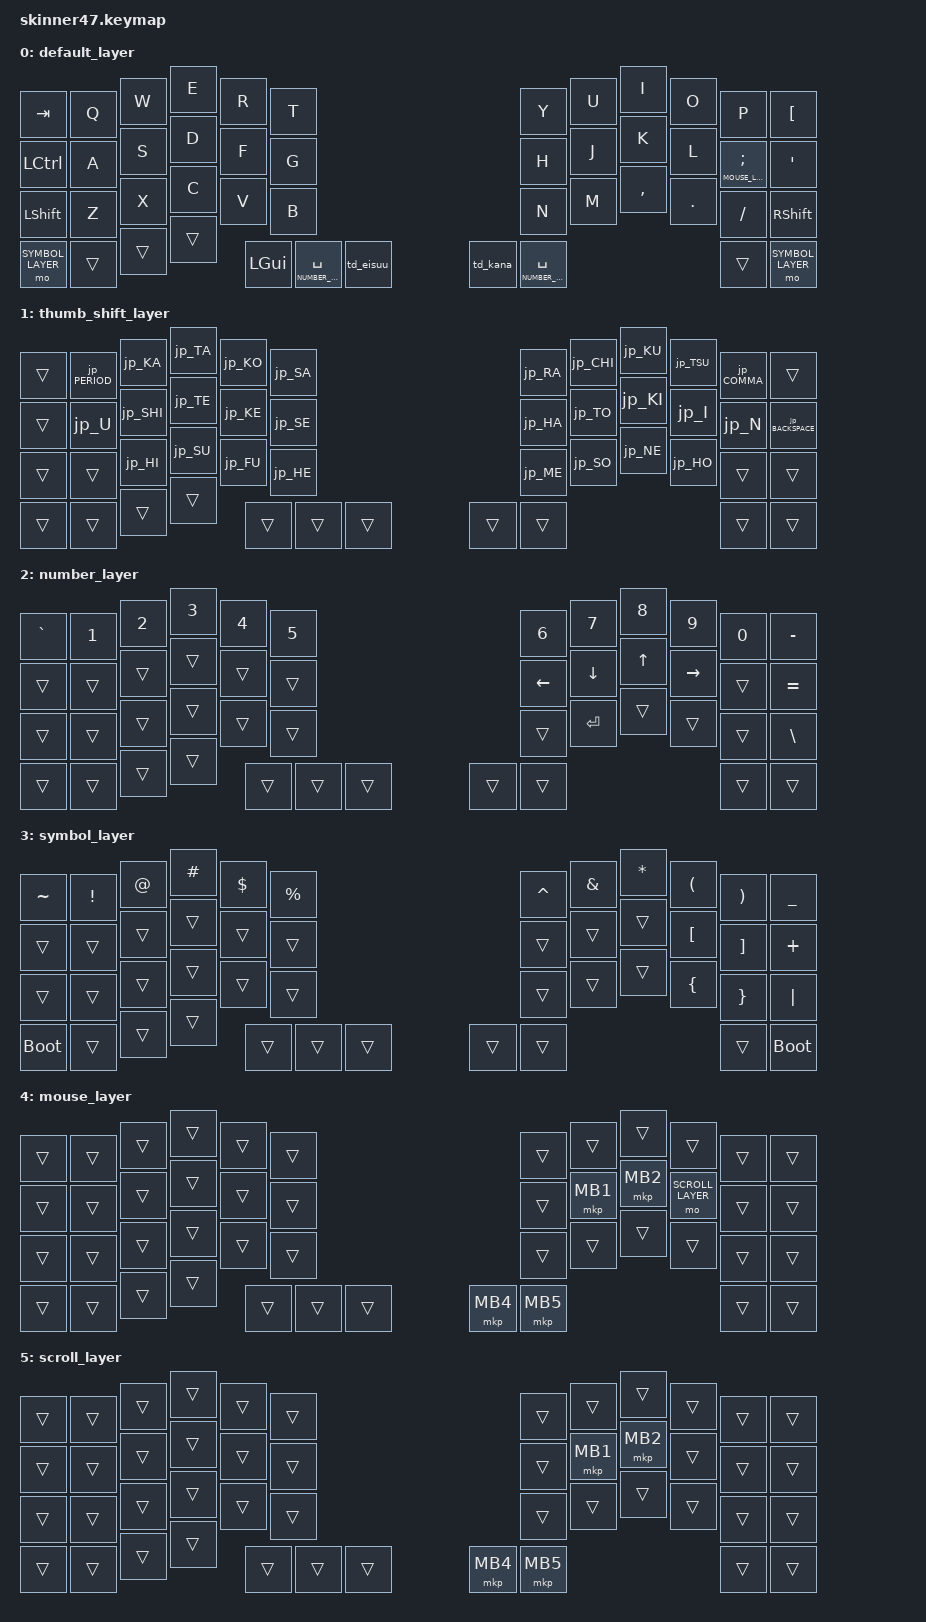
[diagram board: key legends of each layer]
#include <behaviors.dtsi>
#include <dt-bindings/zmk/bt.h>
#include <dt-bindings/zmk/keys.h>
#include <dt-bindings/zmk/pointing.h>

#define DEFAULT_LAYER     0
#define THUMB_SHIFT_LAYER 1
#define NUMBER_LAYER      2
#define SYMBOL_LAYER      3
#define MOUSE_LAYER       4
#define SCROLL_LAYER      5

/ {
    combos {
        compatible = "zmk,combos";

        combo_escape    { key-positions = <0  1>;  bindings = <&kp ESCAPE>;    timeout-ms = <50>; };
        combo_backspace { key-positions = <10 11>; bindings = <&kp BACKSPACE>; timeout-ms = <50>; };

        combo_ga    { layers = <THUMB_SHIFT_LAYER>; key-positions = <44 2>;  bindings = <&jp_GA>;    };
        combo_da    { layers = <THUMB_SHIFT_LAYER>; key-positions = <44 3>;  bindings = <&jp_DA>;    };
        combo_go    { layers = <THUMB_SHIFT_LAYER>; key-positions = <44 4>;  bindings = <&jp_GO>;    };
        combo_za    { layers = <THUMB_SHIFT_LAYER>; key-positions = <44 5>;  bindings = <&jp_ZA>;    };
        combo_pa    { layers = <THUMB_SHIFT_LAYER>; key-positions = <41 6>;  bindings = <&jp_PA>;    };
        combo_di    { layers = <THUMB_SHIFT_LAYER>; key-positions = <41 7>;  bindings = <&jp_DI>;    };
        combo_gu    { layers = <THUMB_SHIFT_LAYER>; key-positions = <41 8>;  bindings = <&jp_GU>;    };
        combo_du    { layers = <THUMB_SHIFT_LAYER>; key-positions = <41 9>;  bindings = <&jp_DU>;    };
        combo_pi    { layers = <THUMB_SHIFT_LAYER>; key-positions = <41 10>; bindings = <&jp_PI>;    };

        combo_vu    { layers = <THUMB_SHIFT_LAYER>; key-positions = <44 13>; bindings = <&jp_VU>;    };
        combo_zi    { layers = <THUMB_SHIFT_LAYER>; key-positions = <44 14>; bindings = <&jp_ZI>;    };
        combo_de    { layers = <THUMB_SHIFT_LAYER>; key-positions = <44 15>; bindings = <&jp_DE>;    };
        combo_ge    { layers = <THUMB_SHIFT_LAYER>; key-positions = <44 16>; bindings = <&jp_GE>;    };
        combo_ze    { layers = <THUMB_SHIFT_LAYER>; key-positions = <44 17>; bindings = <&jp_ZE>;    };
        combo_ba    { layers = <THUMB_SHIFT_LAYER>; key-positions = <41 18>; bindings = <&jp_BA>;    };
        combo_do    { layers = <THUMB_SHIFT_LAYER>; key-positions = <41 19>; bindings = <&jp_DO>;    };
        combo_gi    { layers = <THUMB_SHIFT_LAYER>; key-positions = <41 20>; bindings = <&jp_GI>;    };
        combo_po    { layers = <THUMB_SHIFT_LAYER>; key-positions = <41 21>; bindings = <&jp_PO>;    };

        combo_bi    { layers = <THUMB_SHIFT_LAYER>; key-positions = <44 26>; bindings = <&jp_BI>;    };
        combo_zu    { layers = <THUMB_SHIFT_LAYER>; key-positions = <44 27>; bindings = <&jp_ZU>;    };
        combo_bu    { layers = <THUMB_SHIFT_LAYER>; key-positions = <44 28>; bindings = <&jp_BU>;    };
        combo_be    { layers = <THUMB_SHIFT_LAYER>; key-positions = <44 29>; bindings = <&jp_BE>;    };
        combo_pu    { layers = <THUMB_SHIFT_LAYER>; key-positions = <41 30>; bindings = <&jp_PU>;    };
        combo_zo    { layers = <THUMB_SHIFT_LAYER>; key-positions = <41 31>; bindings = <&jp_ZO>;    };
        combo_pe    { layers = <THUMB_SHIFT_LAYER>; key-positions = <41 32>; bindings = <&jp_PE>;    };
        combo_bo    { layers = <THUMB_SHIFT_LAYER>; key-positions = <41 33>; bindings = <&jp_BO>;    };

        combo_la    { layers = <THUMB_SHIFT_LAYER>; key-positions = <41 1>;  bindings = <&jp_LA>;    };
        combo_e     { layers = <THUMB_SHIFT_LAYER>; key-positions = <41 2>;  bindings = <&jp_E>;     };
        combo_ri    { layers = <THUMB_SHIFT_LAYER>; key-positions = <41 3>;  bindings = <&jp_RI>;    };
        combo_lya   { layers = <THUMB_SHIFT_LAYER>; key-positions = <41 4>;  bindings = <&jp_LYA>;   };
        combo_re    { layers = <THUMB_SHIFT_LAYER>; key-positions = <41 5>;  bindings = <&jp_RE>;    };
        combo_yo    { layers = <THUMB_SHIFT_LAYER>; key-positions = <44 6>;  bindings = <&jp_YO>;    };
        combo_ni    { layers = <THUMB_SHIFT_LAYER>; key-positions = <44 7>;  bindings = <&jp_NI>;    };
        combo_ru    { layers = <THUMB_SHIFT_LAYER>; key-positions = <44 8>;  bindings = <&jp_RU>;    };
        combo_ma    { layers = <THUMB_SHIFT_LAYER>; key-positions = <44 9>;  bindings = <&jp_MA>;    };
        combo_le    { layers = <THUMB_SHIFT_LAYER>; key-positions = <44 10>; bindings = <&jp_LE>;    };

        combo_wo    { layers = <THUMB_SHIFT_LAYER>; key-positions = <41 13>; bindings = <&jp_WO>;    };
        combo_a     { layers = <THUMB_SHIFT_LAYER>; key-positions = <41 14>; bindings = <&jp_A>;     };
        combo_na    { layers = <THUMB_SHIFT_LAYER>; key-positions = <41 15>; bindings = <&jp_NA>;    };
        combo_lyu   { layers = <THUMB_SHIFT_LAYER>; key-positions = <41 16>; bindings = <&jp_LYU>;   };
        combo_mo    { layers = <THUMB_SHIFT_LAYER>; key-positions = <41 17>; bindings = <&jp_MO>;    };
        combo_mi    { layers = <THUMB_SHIFT_LAYER>; key-positions = <44 18>; bindings = <&jp_MI>;    };
        combo_o     { layers = <THUMB_SHIFT_LAYER>; key-positions = <44 19>; bindings = <&jp_O>;     };
        combo_no    { layers = <THUMB_SHIFT_LAYER>; key-positions = <44 20>; bindings = <&jp_NO>;    };
        combo_lyo   { layers = <THUMB_SHIFT_LAYER>; key-positions = <44 21>; bindings = <&jp_LYO>;   };
        combo_ltu   { layers = <THUMB_SHIFT_LAYER>; key-positions = <44 22>; bindings = <&jp_LTU>;   };
        combo_lwa   { layers = <THUMB_SHIFT_LAYER>; key-positions = <44 23>; bindings = <&jp_LWA>;   };

        combo_lu    { layers = <THUMB_SHIFT_LAYER>; key-positions = <41 25>; bindings = <&jp_LU>;    };
        combo_minus { layers = <THUMB_SHIFT_LAYER>; key-positions = <41 26>; bindings = <&jp_MINUS>; };
        combo_ro    { layers = <THUMB_SHIFT_LAYER>; key-positions = <41 27>; bindings = <&jp_RO>;    };
        combo_ya    { layers = <THUMB_SHIFT_LAYER>; key-positions = <41 28>; bindings = <&jp_YA>;    };
        combo_li    { layers = <THUMB_SHIFT_LAYER>; key-positions = <41 29>; bindings = <&jp_LI>;    };
        combo_nu    { layers = <THUMB_SHIFT_LAYER>; key-positions = <44 30>; bindings = <&jp_NU>;    };
        combo_yu    { layers = <THUMB_SHIFT_LAYER>; key-positions = <44 31>; bindings = <&jp_YU>;    };
        combo_mu    { layers = <THUMB_SHIFT_LAYER>; key-positions = <44 32>; bindings = <&jp_MU>;    };
        combo_wa    { layers = <THUMB_SHIFT_LAYER>; key-positions = <44 33>; bindings = <&jp_WA>;    };
        combo_lo    { layers = <THUMB_SHIFT_LAYER>; key-positions = <44 34>; bindings = <&jp_LO>;    };
    };

    macros {
        ZMK_MACRO(eisuu, bindings = <&kp LANGUAGE_2>, <&to DEFAULT_LAYER>;     wait-ms = <40>; tap-ms = <40>;)
        ZMK_MACRO(kana,  bindings = <&kp LANGUAGE_1>, <&to THUMB_SHIFT_LAYER>; wait-ms = <40>; tap-ms = <40>;)

        ZMK_MACRO(jp_PERIOD,    bindings = <&kp PERIOD>;)
        ZMK_MACRO(jp_KA,        bindings = <&kp K &kp A>;)
        ZMK_MACRO(jp_TA,        bindings = <&kp T &kp A>;)
        ZMK_MACRO(jp_KO,        bindings = <&kp K &kp O>;)
        ZMK_MACRO(jp_SA,        bindings = <&kp S &kp A>;)
        ZMK_MACRO(jp_RA,        bindings = <&kp R &kp A>;)
        ZMK_MACRO(jp_CHI,       bindings = <&kp T &kp I>;)
        ZMK_MACRO(jp_KU,        bindings = <&kp K &kp U>;)
        ZMK_MACRO(jp_TSU,       bindings = <&kp T &kp U>;)
        ZMK_MACRO(jp_COMMA,     bindings = <&kp COMMA>;)

        ZMK_MACRO(jp_U,         bindings = <&kp U>;)
        ZMK_MACRO(jp_SHI,       bindings = <&kp S &kp I>;)
        ZMK_MACRO(jp_TE,        bindings = <&kp T &kp E>;)
        ZMK_MACRO(jp_KE,        bindings = <&kp K &kp E>;)
        ZMK_MACRO(jp_SE,        bindings = <&kp S &kp E>;)
        ZMK_MACRO(jp_HA,        bindings = <&kp H &kp A>;)
        ZMK_MACRO(jp_TO,        bindings = <&kp T &kp O>;)
        ZMK_MACRO(jp_KI,        bindings = <&kp K &kp I>;)
        ZMK_MACRO(jp_I,         bindings = <&kp I>;)
        ZMK_MACRO(jp_N,         bindings = <&kp N &kp N>;)
        ZMK_MACRO(jp_BACKSPACE, bindings = <&kp BACKSPACE>;)

        ZMK_MACRO(jp_HI,        bindings = <&kp H &kp I>;)
        ZMK_MACRO(jp_SU,        bindings = <&kp S &kp U>;)
        ZMK_MACRO(jp_FU,        bindings = <&kp H &kp U>;)
        ZMK_MACRO(jp_HE,        bindings = <&kp H &kp E>;)
        ZMK_MACRO(jp_ME,        bindings = <&kp M &kp E>;)
        ZMK_MACRO(jp_SO,        bindings = <&kp S &kp O>;)
        ZMK_MACRO(jp_NE,        bindings = <&kp N &kp E>;)
        ZMK_MACRO(jp_HO,        bindings = <&kp H &kp O>;)

        ZMK_MACRO(jp_GA,        bindings = <&kp G &kp A>;)
        ZMK_MACRO(jp_DA,        bindings = <&kp D &kp A>;)
        ZMK_MACRO(jp_GO,        bindings = <&kp G &kp O>;)
        ZMK_MACRO(jp_ZA,        bindings = <&kp Z &kp A>;)
        ZMK_MACRO(jp_PA,        bindings = <&kp P &kp A>;)
        ZMK_MACRO(jp_DI,        bindings = <&kp D &kp I>;)
        ZMK_MACRO(jp_GU,        bindings = <&kp G &kp U>;)
        ZMK_MACRO(jp_DU,        bindings = <&kp D &kp U>;)
        ZMK_MACRO(jp_PI,        bindings = <&kp P &kp I>;)

        ZMK_MACRO(jp_VU,        bindings = <&kp V &kp U>;)
        ZMK_MACRO(jp_ZI,        bindings = <&kp Z &kp I>;)
        ZMK_MACRO(jp_DE,        bindings = <&kp D &kp E>;)
        ZMK_MACRO(jp_GE,        bindings = <&kp G &kp E>;)
        ZMK_MACRO(jp_ZE,        bindings = <&kp Z &kp E>;)
        ZMK_MACRO(jp_BA,        bindings = <&kp B &kp A>;)
        ZMK_MACRO(jp_DO,        bindings = <&kp D &kp O>;)
        ZMK_MACRO(jp_GI,        bindings = <&kp G &kp I>;)
        ZMK_MACRO(jp_PO,        bindings = <&kp P &kp O>;)

        ZMK_MACRO(jp_BI,        bindings = <&kp B &kp I>;)
        ZMK_MACRO(jp_ZU,        bindings = <&kp Z &kp U>;)
        ZMK_MACRO(jp_BU,        bindings = <&kp B &kp U>;)
        ZMK_MACRO(jp_BE,        bindings = <&kp B &kp E>;)
        ZMK_MACRO(jp_PU,        bindings = <&kp P &kp U>;)
        ZMK_MACRO(jp_ZO,        bindings = <&kp Z &kp O>;)
        ZMK_MACRO(jp_PE,        bindings = <&kp P &kp E>;)
        ZMK_MACRO(jp_BO,        bindings = <&kp B &kp O>;)

        ZMK_MACRO(jp_LA,        bindings = <&kp L &kp A>;)
        ZMK_MACRO(jp_E,         bindings = <&kp E>;)
        ZMK_MACRO(jp_RI,        bindings = <&kp R &kp I>;)
        ZMK_MACRO(jp_LYA,       bindings = <&kp L &kp Y &kp A>;)
        ZMK_MACRO(jp_RE,        bindings = <&kp R &kp E>;)
        ZMK_MACRO(jp_YO,        bindings = <&kp Y &kp O>;)
        ZMK_MACRO(jp_NI,        bindings = <&kp N &kp I>;)
        ZMK_MACRO(jp_RU,        bindings = <&kp R &kp U>;)
        ZMK_MACRO(jp_MA,        bindings = <&kp M &kp A>;)
        ZMK_MACRO(jp_LE,        bindings = <&kp L &kp E>;)

        ZMK_MACRO(jp_WO,        bindings = <&kp W &kp O>;)
        ZMK_MACRO(jp_A,         bindings = <&kp A>;)
        ZMK_MACRO(jp_NA,        bindings = <&kp N &kp A>;)
        ZMK_MACRO(jp_LYU,       bindings = <&kp L &kp Y &kp U>;)
        ZMK_MACRO(jp_MO,        bindings = <&kp M &kp O>;)
        ZMK_MACRO(jp_MI,        bindings = <&kp M &kp I>;)
        ZMK_MACRO(jp_O,         bindings = <&kp O>;)
        ZMK_MACRO(jp_NO,        bindings = <&kp N &kp O>;)
        ZMK_MACRO(jp_LYO,       bindings = <&kp L &kp Y &kp O>;)
        ZMK_MACRO(jp_LTU,       bindings = <&kp L &kp T &kp U>;)
        ZMK_MACRO(jp_LWA,       bindings = <&kp L &kp W &kp A>;)

        ZMK_MACRO(jp_LU,        bindings = <&kp L &kp U>;)
        ZMK_MACRO(jp_MINUS,     bindings = <&kp MINUS>;)
        ZMK_MACRO(jp_RO,        bindings = <&kp R &kp O>;)
        ZMK_MACRO(jp_YA,        bindings = <&kp Y &kp A>;)
        ZMK_MACRO(jp_LI,        bindings = <&kp L &kp I>;)
        ZMK_MACRO(jp_NU,        bindings = <&kp N &kp U>;)
        ZMK_MACRO(jp_YU,        bindings = <&kp Y &kp U>;)
        ZMK_MACRO(jp_MU,        bindings = <&kp M &kp U>;)
        ZMK_MACRO(jp_WA,        bindings = <&kp W &kp A>;)
        ZMK_MACRO(jp_LO,        bindings = <&kp L &kp O>;)
    };

    behaviors {
        td_eisuu: tap_dance_eisuu { compatible = "zmk,behavior-tap-dance"; #binding-cells = <0>; bindings = <&none>, <&eisuu>; };
        td_kana:  tap_dance_kana  { compatible = "zmk,behavior-tap-dance"; #binding-cells = <0>; bindings = <&none>, <&kana>;  };
    };

    keymap {
        compatible = "zmk,keymap";

        default_layer {
            bindings = <
&kp TAB           &kp Q   &kp W   &kp E   &kp R         &kp T                                        &kp Y                   &kp U  &kp I      &kp O       &kp P                      &kp LEFT_BRACKET
&kp LEFT_CONTROL  &kp A   &kp S   &kp D   &kp F         &kp G                                        &kp H                   &kp J  &kp K      &kp L       &lt MOUSE_LAYER SEMICOLON  &kp SINGLE_QUOTE
&kp LEFT_SHIFT    &kp Z   &kp X   &kp C   &kp V         &kp B                                        &kp N                   &kp M  &kp COMMA  &kp PERIOD  &kp SLASH                  &kp RIGHT_SHIFT
&mo SYMBOL_LAYER  &trans  &trans  &trans  &kp LEFT_GUI  &lt NUMBER_LAYER SPACE  &td_eisuu  &td_kana  &lt NUMBER_LAYER SPACE                                &trans                     &mo SYMBOL_LAYER
            >;
        };

        thumb_shift_layer {
            bindings = <
&trans  &jp_PERIOD  &jp_KA   &jp_TA  &jp_KO  &jp_SA                  &jp_RA  &jp_CHI  &jp_KU  &jp_TSU  &jp_COMMA  &trans
&trans  &jp_U       &jp_SHI  &jp_TE  &jp_KE  &jp_SE                  &jp_HA  &jp_TO   &jp_KI  &jp_I    &jp_N      &jp_BACKSPACE
&trans  &trans      &jp_HI   &jp_SU  &jp_FU  &jp_HE                  &jp_ME  &jp_SO   &jp_NE  &jp_HO   &trans     &trans
&trans  &trans      &trans   &trans  &trans  &trans  &trans  &trans  &trans                            &trans     &trans
            >;
        };

        number_layer {
            bindings = <
&kp GRAVE    &kp NUMBER_1  &kp NUMBER_2  &kp NUMBER_3  &kp NUMBER_4  &kp NUMBER_5                  &kp NUMBER_6    &kp NUMBER_7    &kp NUMBER_8  &kp NUMBER_9     &kp NUMBER_0  &kp MINUS
&trans       &trans        &trans        &trans        &trans        &trans                        &kp LEFT_ARROW  &kp DOWN_ARROW  &kp UP_ARROW  &kp RIGHT_ARROW  &trans        &kp EQUAL
&trans       &trans        &trans        &trans        &trans        &trans                        &trans          &kp RETURN      &trans        &trans           &trans        &kp BACKSLASH
&trans       &trans        &trans        &trans        &trans        &trans        &trans  &trans  &trans                                                         &trans        &trans
            >;
        };

        symbol_layer {
            bindings = <
&kp TILDE    &kp EXCLAMATION  &kp AT_SIGN  &kp HASH  &kp DOLLAR  &kp PERCENT                  &kp CARET  &kp AMPERSAND  &kp ASTERISK  &kp LEFT_PARENTHESIS  &kp RIGHT_PARENTHESIS  &kp UNDERSCORE
&trans       &trans           &trans       &trans    &trans      &trans                       &trans     &trans         &trans        &kp LEFT_BRACKET      &kp RIGHT_BRACKET      &kp PLUS
&trans       &trans           &trans       &trans    &trans      &trans                       &trans     &trans         &trans        &kp LEFT_BRACE        &kp RIGHT_BRACE        &kp PIPE
&bootloader  &trans           &trans       &trans    &trans      &trans       &trans  &trans  &trans                                                        &trans                 &bootloader
            >;
        };

        mouse_layer {
            bindings = <
&trans  &trans  &trans  &trans  &trans  &trans                    &trans    &trans    &trans    &trans            &trans  &trans
&trans  &trans  &trans  &trans  &trans  &trans                    &trans    &mkp MB1  &mkp MB2  &mo SCROLL_LAYER  &trans  &trans
&trans  &trans  &trans  &trans  &trans  &trans                    &trans    &trans    &trans    &trans            &trans  &trans
&trans  &trans  &trans  &trans  &trans  &trans  &trans  &mkp MB4  &mkp MB5                                        &trans  &trans
            >;
        };

        scroll_layer {
            bindings = <
&trans  &trans  &trans  &trans  &trans  &trans                    &trans    &trans    &trans    &trans  &trans  &trans
&trans  &trans  &trans  &trans  &trans  &trans                    &trans    &mkp MB1  &mkp MB2  &trans  &trans  &trans
&trans  &trans  &trans  &trans  &trans  &trans                    &trans    &trans    &trans    &trans  &trans  &trans
&trans  &trans  &trans  &trans  &trans  &trans  &trans  &mkp MB4  &mkp MB5                              &trans  &trans
            >;
        };
    };
};
